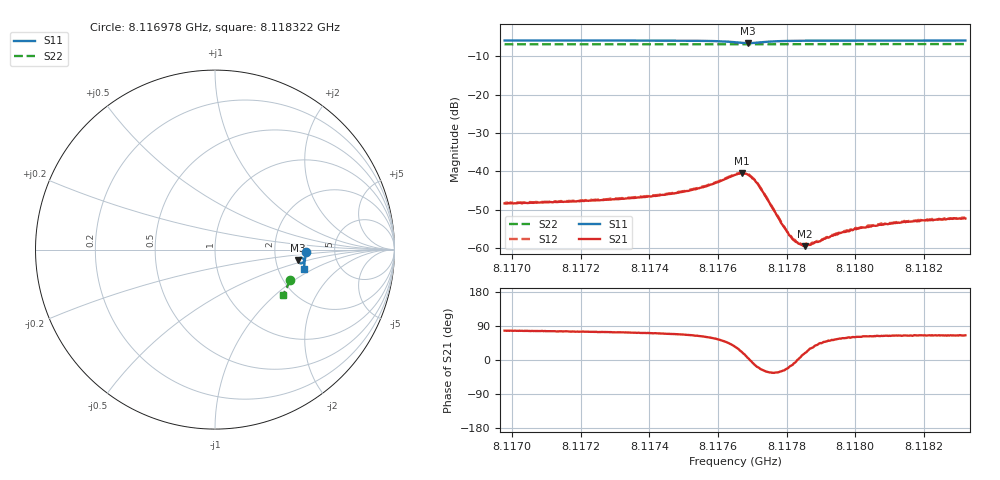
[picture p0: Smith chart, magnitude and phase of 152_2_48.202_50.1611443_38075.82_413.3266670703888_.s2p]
#  HZ  S  RI  R  50.00
! Rohde & Schwarz Vector Network Analyzer
! Rohde-Schwarz,ZNB20-2Port,1311601062101988,3.16
! Created: UTC 3/20/2024, 11:42:51 AM
! freq[Hz]  re:S11  im:S11  re:S21  im:S21  re:S12  im:S12  re:S22  im:S22
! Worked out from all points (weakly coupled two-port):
!   401 points, 8.116978 GHz to 8.118322 GHz, reference 50 ohm
!   highest |S21| = -40.41 dB at 8.11767 GHz (marker M1); lowest = -59.5 dB at 8.117855 GHz (marker M2)
!   lowest |S11| = -6.6 dB at 8.117687 GHz (marker M3), VSWR 2.75, Z = 134 - j20.7 ohm
!   |S11| at or under -10 dB: nowhere
!   |S22| runs from -6.9 to -6.8 dB; largest |S21 - S12| = 0.00033
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8.1169776e9  0.506 -0.0153  0.000833 0.00375  0.000899 0.0038  0.4182 -0.168
8.1172027e9  0.5046 -0.0333  0.00108 0.00399  0.00114 0.00408  0.4126 -0.1827
8.1174279e9  0.5015 -0.0532  0.00164 0.00458  0.00173 0.00464  0.4066 -0.1972
8.1174783e9  0.4999 -0.0584  0.00196 0.00484  0.00204 0.00495  0.4051 -0.2005
8.1175455e9  0.4964 -0.0662  0.00273 0.0054  0.00283 0.00548  0.4029 -0.2048
8.1175925e9  0.4908 -0.0727  0.00392 0.00592  0.00408 0.00596  0.4014 -0.2079
8.1176496e9  0.4741 -0.0763  0.00739 0.00517  0.00759 0.0052  0.399 -0.2114
8.1176698e9  0.4659 -0.0703  0.00891 0.00342  0.00903 0.00332  0.3981 -0.2122
8.1176866e9  0.463 -0.0605  0.00906 0.000926  0.00922 0.000848  0.3976 -0.2126
8.1177034e9  0.4669 -0.0509  0.00788 -0.00133  0.00799 -0.00137  0.3974 -0.2133
8.1177202e9  0.4747 -0.0458  0.00598 -0.0023  0.00609 -0.00241  0.3974 -0.2141
8.1177874e9  0.4943 -0.0541  0.00179 -0.000983  0.00183 -0.00103  0.3961 -0.2188
8.1178109e9  0.4963 -0.0581  0.00139 -0.000397  0.00143 -0.000436  0.3956 -0.2204
8.117821e9  0.4969 -0.0598  0.00126 -0.000202  0.00128 -0.000193  0.3951 -0.221
8.1178378e9  0.4976 -0.0623  0.00114 0.000104  0.00115 9.38e-05  0.3947 -0.2223
8.1178546e9  0.498 -0.0646  0.00101 0.000347  0.00107 0.000346  0.3942 -0.2233
8.1178748e9  0.4984 -0.0671  0.000973 0.000617  0.001 0.000634  0.3935 -0.2246
8.1179353e9  0.4984 -0.0742  0.000885 0.00116  0.000881 0.0012  0.3916 -0.2285
8.1179924e9  0.4982 -0.0799  0.000843 0.0015  0.000877 0.00152  0.3898 -0.232
8.1180999e9  0.4969 -0.0894  0.000906 0.00189  0.000967 0.0019  0.386 -0.2387
8.1181974e9  0.4955 -0.0974  0.00098 0.00209  0.00101 0.00214  0.3825 -0.2448
8.1183217e9  0.4934 -0.1072  0.00103 0.00221  0.00109 0.00227  0.3782 -0.2523
